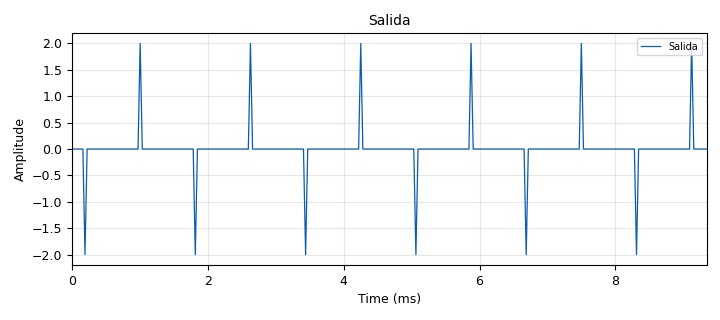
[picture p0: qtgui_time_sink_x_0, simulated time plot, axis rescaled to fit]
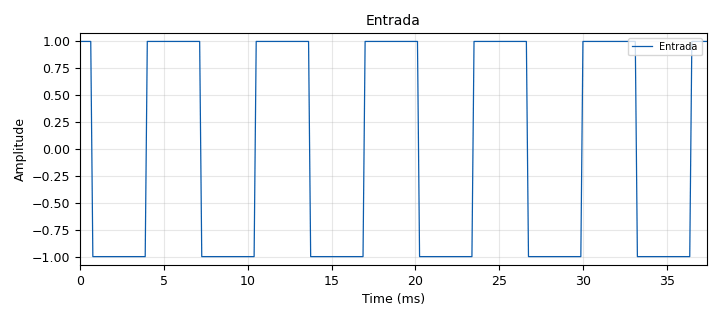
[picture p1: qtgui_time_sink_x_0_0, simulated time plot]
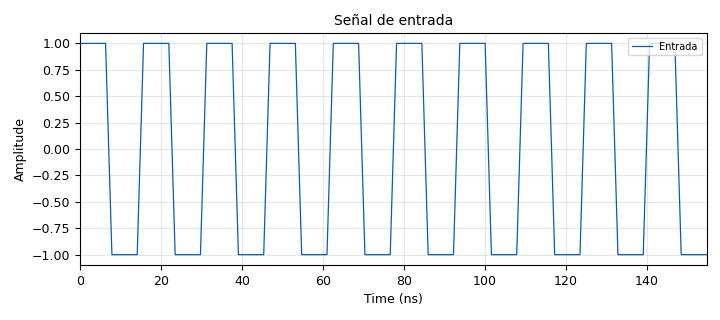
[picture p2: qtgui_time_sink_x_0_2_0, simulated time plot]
options:
  parameters:
    generate_options: qt_gui
    id: Práctica_1
    output_language: python
    title: Practica 1
  states: {}

blocks:
- name: samp_rate
  id: variable
  parameters:
    value: '32000'
  states: {}
- name: analog_noise_source_x_0
  id: analog_noise_source_x
  parameters:
    amp: '0'
    noise_type: analog.GR_GAUSSIAN
    seed: '0'
    type: float
  states: {}
- name: analog_noise_source_x_0_0
  id: analog_noise_source_x
  parameters:
    amp: '0'
    noise_type: analog.GR_GAUSSIAN
    seed: '0'
    type: float
  states: {}
- name: blocks_add_xx_0
  id: blocks_add_xx
  parameters:
    type: float
  states: {}
- name: blocks_add_xx_0_0
  id: blocks_add_xx
  parameters:
    type: float
  states: {}
- name: blocks_throttle2_0
  id: blocks_throttle2
  parameters:
    samples_per_second: samp_rate
    type: float
  states: {}
- name: blocks_vector_source_x_0
  id: blocks_vector_source_x
  parameters:
    repeat: 'True'
    type: float
    vector: (1, 1,1, 1, 1, 1,1, 1, 1, 1,1, 1, 1, 1,1, 1, 1, 1,1, 1, 1, 1,1, 1, 1, 1, -1, -1,-1, -1, -1, -1,-1, -1, -1, -1,-1, -1, -1, -1,-1, -1, -1, -1,-1, -1, -1, -1,-1, -1, -1, -1)
  states: {}
- name: blocks_vector_source_x_0_1_0
  id: blocks_vector_source_x
  parameters:
    repeat: 'True'
    type: float
    vector: (1,1 ,1,1,1,-1, -1,-1, -1,-1)
  states: {}
- name: epy_block_0
  id: epy_block
  parameters:
    _source_code: |
      import numpy as np
      from gnuradio import gr

      class blk(gr.sync_block):
          def __init__(self):  # solo argumentos por defecto
              gr.sync_block.__init__(
                  self,
                  name='Averange time',   # Nombre que aparecerá en GRC
                  in_sig=[np.float32],
                  out_sig=[np.float32, np.float32, np.float32, np.float32, np.float32]
              )
              # Inicialización de acumuladores
              self.acum_anterior = 0.0
              self.acum_anterior1 = 0.0
              self.acum_anterior2 = 0.0
              self.Ntotales = 0

          def work(self, input_items, output_items):
              x = input_items[0]  # Señal de entrada
              y0 = output_items[0]  # Promedio acumulado
              y1 = output_items[1]  # Media (esperanza matemática)
              y2 = output_items[2]  # RMS
              y3 = output_items[3]  # Potencia promedio
              y4 = output_items[4]  # Desviación estándar
              # Número de muestras en este bloque
       

              # --- Cálculo del promedio ---
         
              y0[:] = np.mean(x)

              # --- Cálculo de la media cuadrática (para RMS) ---

              media_cuadratica = np.mean(x**2)

              # --- RMS ---
              y2[:] = np.sqrt(media_cuadratica)

              # --- Potencia promedio ---
              y3[:] = media_cuadratica

              # --- Media (simplemente el promedio) ---
              y1[:] = media_cuadratica

              # --- Desviación estándar ---

              y4[:] = np.std(x)

              return len(x)
  states: {}
- name: epy_block_0_0_0
  id: epy_block
  parameters:
    _source_code: |
      import numpy as np
      from gnuradio import gr
      class blk (gr. sync_block ):
          def __init__ ( self ) : # only default arguments here
              gr. sync_block . __init__ (self,
              name ='Integrator', # will show up in GRC
              in_sig =[ np. float32 ],
              out_sig =[ np. float32 ]
          )
          def work (self , input_items , output_items ):
              x = input_items [0] # Senial de entrada .
              y0 = output_items [0] # Senial acumulada
              y0 [:] = np. cumsum (x)
              
              return len (y0)
  states: {}
- name: epy_block_0_0_0_0
  id: epy_block
  parameters:
    _source_code: |
      import numpy as np
      from gnuradio import gr

      class blk(gr.sync_block):
          def __init__(self):
              gr.sync_block.__init__(
                  self,
                  name='Differenciator',   # aparecerá en GRC
                  in_sig=[np.float32],
                  out_sig=[np.float32]
              )
              self.last_sample = 0.0   # última muestra del bloque anterior

          def work(self, input_items, output_items):
              x = input_items[0]   # señal de entrada
              y0 = output_items[0] # señal de salida (diferenciada)

              # Calcular diferencias
              y0[0] = x[0] - self.last_sample   # primera diferencia usando la memoria
              y0[1:] = np.diff(x)               # diferencias dentro del bloque

              # Guardar la última muestra del bloque actual
              self.last_sample = x[-1]

              return len(y0)
  states: {}
- name: qtgui_number_sink_0
  id: qtgui_number_sink
  parameters:
    graph_type: qtgui.NUM_GRAPH_HORIZ
    max: '1.5'
    min: '-1.5'
    name: Averange power
    type: float
  states: {}
- name: qtgui_number_sink_0_1
  id: qtgui_number_sink
  parameters:
    graph_type: qtgui.NUM_GRAPH_HORIZ
    max: '2'
    min: '-2'
    name: Averange time
    type: float
  states: {}
- name: qtgui_number_sink_0_2
  id: qtgui_number_sink
  parameters:
    graph_type: qtgui.NUM_GRAPH_HORIZ
    max: '1.5'
    min: '-1.5'
    name: Standard deviation
    type: float
  states: {}
- name: qtgui_number_sink_0_3
  id: qtgui_number_sink
  parameters:
    graph_type: qtgui.NUM_GRAPH_HORIZ
    name: Mean
    type: float
  states: {}
- name: qtgui_number_sink_0_4
  id: qtgui_number_sink
  parameters:
    graph_type: qtgui.NUM_GRAPH_HORIZ
    name: RMS
    type: float
  states: {}
- name: qtgui_time_sink_x_0
  id: qtgui_time_sink_x
  parameters:
    label1: Salida
    name: '"Salida"'
    size: '300'
    srate: samp_rate
    type: float
  states: {}
- name: qtgui_time_sink_x_0_0
  id: qtgui_time_sink_x
  parameters:
    label1: Entrada
    name: '"Entrada"'
    size: '300'
    srate: samp_rate/4
    type: float
  states: {}
- name: qtgui_time_sink_x_0_2_0
  id: qtgui_time_sink_x
  parameters:
    autoscale: 'True'
    grid: 'True'
    label1: Entrada
    name: Señal de entrada
    size: '100'
    srate: samp_rate*20000
    type: float
    update_time: '0.01'
    ymax: '1.5'
    ymin: '-1.5'
  states: {}

connections:
- [analog_noise_source_x_0, '0', blocks_add_xx_0, '1']
- [analog_noise_source_x_0_0, '0', blocks_add_xx_0_0, '1']
- [blocks_add_xx_0, '0', epy_block_0_0_0_0, '0']
- [blocks_add_xx_0, '0', qtgui_time_sink_x_0_0, '0']
- [blocks_add_xx_0_0, '0', epy_block_0, '0']
- [blocks_add_xx_0_0, '0', qtgui_time_sink_x_0_2_0, '0']
- [blocks_throttle2_0, '0', qtgui_time_sink_x_0, '0']
- [blocks_vector_source_x_0, '0', blocks_add_xx_0, '0']
- [blocks_vector_source_x_0_1_0, '0', blocks_add_xx_0_0, '0']
- [epy_block_0, '0', qtgui_number_sink_0_3, '0']
- [epy_block_0, '1', qtgui_number_sink_0, '0']
- [epy_block_0, '2', qtgui_number_sink_0_4, '0']
- [epy_block_0, '3', qtgui_number_sink_0_1, '0']
- [epy_block_0, '4', qtgui_number_sink_0_2, '0']
- [epy_block_0_0_0_0, '0', blocks_throttle2_0, '0']

metadata:
  file_format: 1
  grc_version: 3.10.12.0
